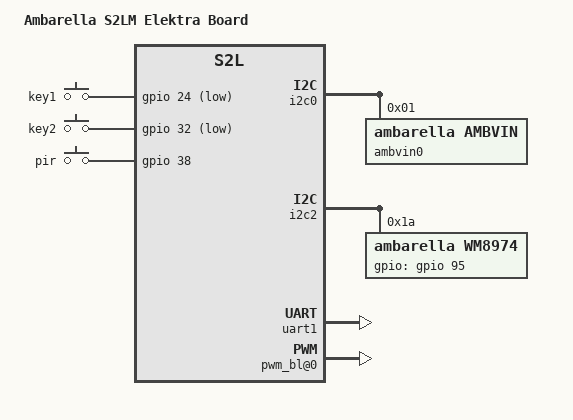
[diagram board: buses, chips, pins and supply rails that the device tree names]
/*
 * Copyright (C) 2013 Ambarella,Inc. - http://www.ambarella.com/
 * Author: Cao Rongrong <rrcao@ambarella.com>
 *
 * This program is free software; you can redistribute it and/or modify
 * it under the terms of the GNU General Public License version 2 as
 * published by the Free Software Foundation.
 */
/dts-v1/;

/include/ "ambarella-s2l.dtsi"

/ {
	model = "Ambarella S2LM Elektra Board";
	compatible = "ambarella,s2lmelektra", "ambarella,s2l";

	chosen {
		bootargs = "console=ttyS0 ubi.mtd=lnx root=ubi0:rootfs rw rootfstype=ubifs init=/linuxrc";
		ambarella,hibernate-gpio-notify-mcu = <112>;
		ambarella,gpio-trigger-high;
	};

	apb@e8000000 {
		i2c0: i2c@e8003000 {
			status = "ok";
			ambvin0@01 {
				compatible = "ambarella,ambvin";
				reg = <0x01>;	/* fake address, will be overwritten in runtime */
			};
		 };

		i2c2: i2c@e8007000 {
			status = "ok";
			wm8974: codec@1a {
				compatible = "ambarella,wm8974";
				reg = <0x1a>;
				gpios = <&gpio 95 0x0>;
			};
		};

		ir@e8006000 {
			status = "disabled";
		};
	};

	ahb@e0000000 {
		sdmmc0@e0002000 {
			slot@0 {
				/* pwr-gpios = <&pca9539 14 0x1>; */
				max-frequency = <50000000>;
				bus-width = <4>;
				no-1-8-v = <1>;
				keep-power-in-suspend;
				/* broken-cd; */
				/* cap-sdio-irq; */
			};
		};

		uart1: uart@e0032000 {
			compatible = "ambarella,uart";
			reg = <0xe0032000 0x1000>;
			interrupts = <25 0x4>;
			pinctrl-names = "default";
			pinctrl-0 = <&uart1_pins_d &uart1_flow_pins_e>;
			status = "ok";
		};
	};

	rct@ec170000 {
		usbphy: usbphy@ec170050 {
			/* high will trigger the ocp interrupt */
			amb,ocp-polarity = <0>;
			pinctrl-names = "default";
			pinctrl-0 = <&usb_host0_pins>;
			md-gpios = <&gpio 33 0x1>;
			hub-gpios = <&gpio 106 0x0>;
		};
	};

	gpio_keys {
		compatible = "gpio-keys";
		#address-cells = <1>;
		#size-cells = <0>;

		key1_button {
			label = "key1";
			gpios = <&gpio 24 1>;
			debounce-interval = <10>;
			linux,code = <116>;	/*KEY_POWER*/
		};

		key2_button {
			label = "key2";
			gpios = <&gpio 32 1>;
			debounce-interval = <10>;
			linux,code = <238>;	/*KEY_POWER*/
		};

	};

	pir {
		compatible = "gpio-keys";
		#address-cells = <1>;
		#size-cells = <0>;

		PIR {
			label = "pir";
			gpios = <&gpio 38 0>;
			debounce-interval = <10>;
			linux,code = <175>;	/*KEY_MOVE*/
		};
	};

	sound {
		compatible = "ambarella,audio-board";
		amb,model = "wm8974 @ Ambarella";
		amb,i2s-controllers = <&i2s0>;
		amb,dummy-codec = <&dummycodec>;
		amb,dai_fmt = <0>;
		amb,clk_fmt = <0>;
		amb,dummy_dai_fmt = <0>;
		amb,codec-name = "WM8974";
		amb,stream-name = "WM8974-STREAM";
		amb,codec-dai-name = "wm8974-hifi";
		amb,audio-routing = "MICN", "Mic external",
				    "MICP", "Mic external",
				    "Speaker", "SPKOUTP",
				    "Speaker", "SPKOUTN";
	};

	bogus_bus {
		pwm_bl@0 {
			compatible = "pwm-backlight";
			reg = <0>;
			pwms = <&pwm 0 100000 0>;
			pinctrl-names = "default";
			pinctrl-0 = <&pwm0_pins_c>;
			brightness-levels =
						<0  3   6   9   12  15  18  21
						24  27  30  33  36  39  42  45
						48  51  54  57  60  63  66  69
						72  75  78  81  84  87  90  92
						94  96  98  100 102 104 106 108
						110 112 114 116 118 120 122 124
						126 128 130 132 134 136 138 140
						142 144 146 148 150 152 154 156
						158 160 162 164 166 168 170 172
						174 177 180 183 186 189 192 195
						198 201 204 207 210 213 216 219
						222 225 228 231 234 237 240 243
						246 249 252 255>;
			default-brightness-level = <0>;
		};
	};

	iav {
		compatible = "ambarella,iav";
		/* node for vin controller */
		vinc0 {
		vinrst-gpios = <&gpio 98 0>;
		vinpwr-gpios = <&gpio 100 1>;
		};
	};
};

